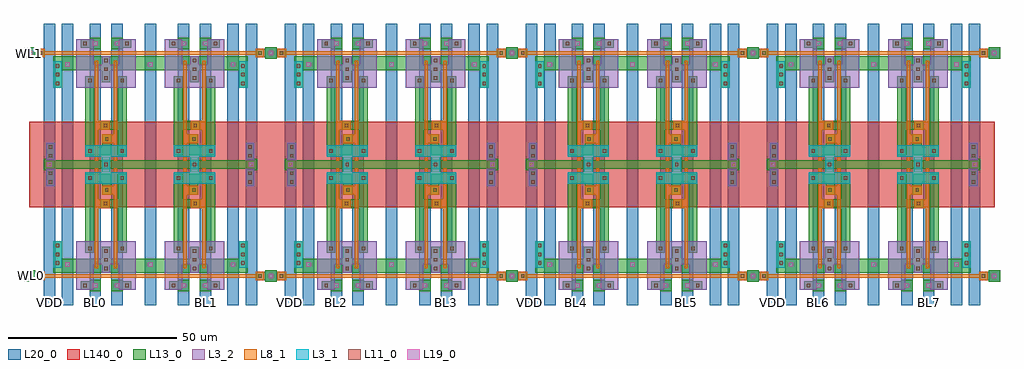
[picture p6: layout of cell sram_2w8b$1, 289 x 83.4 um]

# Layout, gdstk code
import gdstk
lib = gdstk.Library(unit=1e-6, precision=1e-07)
def R(c, l, rs):  # rectangles x0, y0, x1, y1
    for r in rs: c.add(gdstk.rectangle(r[:2], r[2:], *l))
def A(c, l, x, y, w, h, nx, ny, dx, dy):  # array of equal rectangles
    R(c, l, [(x+i*dx, y+j*dy, x+i*dx+w, y+j*dy+h) for i in range(nx) for j in range(ny)])
L3_1 = (3, 1)
L3_2 = (3, 2)
L8_1 = (8, 1)
L11_0 = (11, 0)
L13_0 = (13, 0)
L19_0 = (19, 0)
L20_0 = (20, 0)
L140_0 = (140, 0)

sram_2w2b_3 = lib.new_cell('sram_2w2b$3')
A(sram_2w2b_3, L3_1, -415.5, 10171.5, 2.6, 2.6, 1, 3, 0, 2.6)
A(sram_2w2b_3, L3_1, -360.5, 10171.5, 2.6, 2.6, 1, 3, 0, 2.6)
A(sram_2w2b_3, L3_1, -415.5, 10224.7, 2.6, 2.6, 1, 3, 0, 2.6)
A(sram_2w2b_3, L3_1, -360.5, 10224.7, 2.6, 2.6, 1, 3, 0, 2.6)
R(sram_2w2b_3, L3_1, [(-405.9,10196.3,-393.7,10199.7), (-379.7,10196.3,-367.5,10199.7), (-405.9,10196.7,-403.3,10199.3), (-396.3,10196.7,-393.7,10199.3), (-379.7,10196.7,-377.1,10199.3), (-370.1,10196.7,-367.5,10199.3), (-401.1,10199.7,-398.5,10200.7), (-374.9,10199.7,-372.3,10200.7), (-401.1,10200.7,-398.5,10203.3), (-401.1,10200.7,-398.5,10203.3), (-374.9,10200.7,-372.3,10203.3), (-374.9,10200.7,-372.3,10203.3), (-401.1,10203.3,-398.5,10204.3), (-374.9,10203.3,-372.3,10204.3), (-405.9,10204.3,-393.7,10207.7), (-379.7,10204.3,-367.5,10207.7), (-405.9,10204.7,-403.3,10207.3), (-396.3,10204.7,-393.7,10207.3), (-379.7,10204.7,-377.1,10207.3), (-370.1,10204.7,-367.5,10207.3)])
A(sram_2w2b_3, L3_2, -401.1, 10169.9, 2.6, 2.6, 1, 3, 0, 2.6)
A(sram_2w2b_3, L3_2, -374.9, 10169.9, 2.6, 2.6, 1, 3, 0, 2.6)
A(sram_2w2b_3, L3_2, -401.1, 10226.3, 2.6, 2.6, 1, 3, 0, 2.6)
A(sram_2w2b_3, L3_2, -374.9, 10226.3, 2.6, 2.6, 1, 3, 0, 2.6)
R(sram_2w2b_3, L3_2, [(-408.6,10164.9,-403.5,10172.5), (-407.3,10164.9,-404.7,10167.5), (-396.1,10164.9,-391,10172.5), (-394.9,10164.9,-392.3,10167.5), (-382.4,10164.9,-377.3,10172.5), (-381.1,10164.9,-378.5,10167.5), (-369.9,10164.9,-364.8,10172.5), (-368.7,10164.9,-366.1,10167.5), (-408.6,10172.5,-391,10179.3), (-382.4,10172.5,-364.8,10179.3), (-405.9,10175.8,-403.3,10178.4), (-396.3,10175.8,-393.7,10178.4), (-379.7,10175.8,-377.1,10178.4), (-370.1,10175.8,-367.5,10178.4), (-417.5,10195.5,-414.9,10198.1), (-358.5,10195.5,-355.9,10198.1), (-417.5,10198.1,-414.9,10200.7), (-358.5,10198.1,-355.9,10200.7), (-417.5,10203.3,-414.9,10205.9), (-358.5,10203.3,-355.9,10205.9), (-417.5,10205.9,-414.9,10208.5), (-358.5,10205.9,-355.9,10208.5), (-408.6,10224.7,-391,10231.5), (-382.4,10224.7,-364.8,10231.5), (-405.9,10225.6,-403.3,10228.2), (-396.3,10225.6,-393.7,10228.2), (-379.7,10225.6,-377.1,10228.2), (-370.1,10225.6,-367.5,10228.2), (-408.6,10231.5,-403.5,10239.1), (-396.1,10231.5,-391,10239.1), (-382.4,10231.5,-377.3,10239.1), (-369.9,10231.5,-364.8,10239.1), (-407.3,10236.5,-404.7,10239.1), (-394.9,10236.5,-392.3,10239.1), (-381.1,10236.5,-378.5,10239.1), (-368.7,10236.5,-366.1,10239.1)])
R(sram_2w2b_3, L8_1, [(-420.5,10167.7,-417.9,10170.3), (-420.5,10167.7,-417.9,10170.3), (-355.5,10167.7,-352.9,10170.3), (-419.7,10168.5,-412.9,10169.5), (-419.7,10168.5,-412.9,10169.5), (-412.9,10168.5,-386.7,10169.5), (-386.7,10168.5,-360.5,10169.5), (-360.5,10168.5,-353.7,10169.5), (-403.1,10171.3,-402.1,10200.9), (-397.5,10171.3,-396.5,10200.9), (-376.9,10171.3,-375.9,10200.9), (-371.3,10171.3,-370.3,10200.9), (-402.1,10189.1,-401.3,10191.7), (-401.3,10189.1,-398.7,10191.7), (-374.7,10189.1,-372.1,10191.7), (-372.1,10189.1,-371.3,10191.7), (-400.9,10193.1,-398.3,10195.7), (-398.3,10193.1,-397.5,10195.7), (-375.9,10193.1,-375.1,10195.7), (-375.1,10193.1,-372.5,10195.7), (-403.1,10203.1,-402.1,10232.7), (-397.5,10203.1,-396.5,10232.7), (-376.9,10203.1,-375.9,10232.7), (-371.3,10203.1,-370.3,10232.7), (-400.9,10208.3,-398.3,10210.9), (-398.3,10208.3,-397.5,10210.9), (-375.9,10208.3,-375.1,10210.9), (-375.1,10208.3,-372.5,10210.9), (-402.1,10212.3,-401.3,10214.9), (-401.3,10212.3,-398.7,10214.9), (-374.7,10212.3,-372.1,10214.9), (-372.1,10212.3,-371.3,10214.9), (-420.5,10233.7,-417.9,10236.3), (-355.5,10233.7,-352.9,10236.3), (-419.7,10234.5,-412.9,10235.5), (-412.9,10234.5,-386.7,10235.5), (-386.7,10234.5,-360.5,10235.5), (-360.5,10234.5,-353.7,10235.5)])
A(sram_2w2b_3, L11_0, -400.3, 10170.7, 1, 1, 1, 3, 0, 2.6)
A(sram_2w2b_3, L11_0, -374.1, 10170.7, 1, 1, 1, 3, 0, 2.6)
A(sram_2w2b_3, L11_0, -414.7, 10172.3, 1, 1, 1, 3, 0, 2.6)
A(sram_2w2b_3, L11_0, -359.7, 10172.3, 1, 1, 1, 3, 0, 2.6)
A(sram_2w2b_3, L11_0, -414.7, 10225.5, 1, 1, 1, 3, 0, 2.6)
A(sram_2w2b_3, L11_0, -359.7, 10225.5, 1, 1, 1, 3, 0, 2.6)
A(sram_2w2b_3, L11_0, -400.3, 10227.1, 1, 1, 1, 3, 0, 2.6)
A(sram_2w2b_3, L11_0, -374.1, 10227.1, 1, 1, 1, 3, 0, 2.6)
R(sram_2w2b_3, L11_0, [(-406.5,10165.7,-405.5,10166.7), (-394.1,10165.7,-393.1,10166.7), (-380.3,10165.7,-379.3,10166.7), (-367.9,10165.7,-366.9,10166.7), (-419.7,10168.5,-418.7,10169.5), (-419.7,10168.5,-418.7,10169.5), (-354.7,10168.5,-353.7,10169.5), (-405.1,10176.6,-404.1,10177.6), (-395.5,10176.6,-394.5,10177.6), (-378.9,10176.6,-377.9,10177.6), (-369.3,10176.6,-368.3,10177.6), (-400.5,10189.9,-399.5,10190.9), (-373.9,10189.9,-372.9,10190.9), (-400.1,10193.9,-399.1,10194.9), (-374.3,10193.9,-373.3,10194.9), (-416.7,10196.3,-415.7,10197.3), (-357.7,10196.3,-356.7,10197.3), (-405.1,10197.5,-404.1,10198.5), (-395.5,10197.5,-394.5,10198.5), (-378.9,10197.5,-377.9,10198.5), (-369.3,10197.5,-368.3,10198.5), (-416.7,10198.9,-415.7,10199.9), (-357.7,10198.9,-356.7,10199.9), (-400.3,10201.5,-399.3,10202.5), (-400.3,10201.5,-399.3,10202.5), (-374.1,10201.5,-373.1,10202.5), (-374.1,10201.5,-373.1,10202.5), (-416.7,10204.1,-415.7,10205.1), (-357.7,10204.1,-356.7,10205.1), (-405.1,10205.5,-404.1,10206.5), (-395.5,10205.5,-394.5,10206.5), (-378.9,10205.5,-377.9,10206.5), (-369.3,10205.5,-368.3,10206.5), (-416.7,10206.7,-415.7,10207.7), (-357.7,10206.7,-356.7,10207.7), (-400.1,10209.1,-399.1,10210.1), (-374.3,10209.1,-373.3,10210.1), (-400.5,10213.1,-399.5,10214.1), (-373.9,10213.1,-372.9,10214.1), (-405.1,10226.4,-404.1,10227.4), (-395.5,10226.4,-394.5,10227.4), (-378.9,10226.4,-377.9,10227.4), (-369.3,10226.4,-368.3,10227.4), (-419.7,10234.5,-418.7,10235.5), (-354.7,10234.5,-353.7,10235.5), (-406.5,10237.3,-405.5,10238.3), (-394.1,10237.3,-393.1,10238.3), (-380.3,10237.3,-379.3,10238.3), (-367.9,10237.3,-366.9,10238.3)])
A(sram_2w2b_3, L13_0, -401.1, 10169.9, 2.6, 2.6, 1, 3, 0, 2.6)
A(sram_2w2b_3, L13_0, -374.9, 10169.9, 2.6, 2.6, 1, 3, 0, 2.6)
A(sram_2w2b_3, L13_0, -415.5, 10171.5, 2.6, 2.6, 1, 3, 0, 2.6)
A(sram_2w2b_3, L13_0, -360.5, 10171.5, 2.6, 2.6, 1, 3, 0, 2.6)
A(sram_2w2b_3, L13_0, -415.5, 10224.7, 2.6, 2.6, 1, 3, 0, 2.6)
A(sram_2w2b_3, L13_0, -360.5, 10224.7, 2.6, 2.6, 1, 3, 0, 2.6)
A(sram_2w2b_3, L13_0, -401.1, 10226.3, 2.6, 2.6, 1, 3, 0, 2.6)
A(sram_2w2b_3, L13_0, -374.9, 10226.3, 2.6, 2.6, 1, 3, 0, 2.6)
R(sram_2w2b_3, L13_0, [(-404.7,10164.5,-401.3,10167.9), (-398.3,10164.5,-394.9,10167.9), (-378.5,10164.5,-375.1,10167.9), (-372.1,10164.5,-368.7,10167.9), (-407.3,10164.9,-404.7,10167.5), (-394.9,10164.9,-392.3,10167.5), (-381.1,10164.9,-378.5,10167.5), (-368.7,10164.9,-366.1,10167.5), (-424.1,10167.3,-420.7,10170.7), (-352.7,10167.3,-349.3,10170.7), (-352.7,10167.3,-349.3,10170.7), (-420.7,10167.7,-420.5,10170.3), (-420.7,10167.7,-420.5,10170.3), (-420.5,10167.7,-417.9,10170.3), (-420.5,10167.7,-417.9,10170.3), (-355.5,10167.7,-352.9,10170.3), (-352.9,10167.7,-352.7,10170.3), (-352.9,10167.7,-352.7,10170.3), (-352.9,10167.7,-352.7,10170.3), (-352.9,10167.7,-352.7,10170.3), (-415.5,10169.9,-412.9,10171.5), (-412.9,10169.9,-386.7,10174.1), (-386.7,10169.9,-360.5,10174.1), (-360.5,10169.9,-357.9,10171.5), (-412.9,10170.7,-409.5,10174.1), (-388.4,10170.7,-385,10174.1), (-388.4,10170.7,-385,10174.1), (-363.9,10170.7,-360.5,10174.1), (-401.1,10172.5,-398.5,10177.7), (-374.9,10172.5,-372.3,10177.7), (-405.9,10175.8,-403.3,10178.4), (-405.9,10175.8,-403.3,10196.7), (-396.3,10175.8,-393.7,10178.4), (-396.3,10175.8,-393.7,10196.7), (-379.7,10175.8,-377.1,10178.4), (-379.7,10175.8,-377.1,10196.7), (-370.1,10175.8,-367.5,10178.4), (-370.1,10175.8,-367.5,10196.7), (-401.3,10189.1,-398.7,10191.7), (-398.7,10189.1,-396.3,10191.7), (-377.1,10189.1,-374.7,10191.7), (-374.7,10189.1,-372.1,10191.7), (-400.9,10193.1,-398.3,10195.7), (-375.1,10193.1,-372.5,10195.7), (-417.5,10195.5,-414.9,10198.1), (-358.5,10195.5,-355.9,10198.1), (-400.9,10195.6,-398.3,10196.7), (-375.1,10195.6,-372.5,10196.7), (-405.9,10196.7,-403.3,10199.3), (-403.3,10196.7,-398.3,10199.3), (-396.3,10196.7,-393.7,10199.3), (-379.7,10196.7,-377.1,10199.3), (-375.1,10196.7,-370.1,10199.3), (-370.1,10196.7,-367.5,10199.3), (-417.5,10198.1,-414.9,10200.7), (-358.5,10198.1,-355.9,10200.7), (-418.3,10200.3,-414.9,10203.7), (-358.5,10200.3,-355.1,10203.7), (-417.5,10200.7,-412.9,10203.3), (-412.9,10200.7,-386.7,10203.3), (-412.9,10200.7,-386.7,10203.3), (-401.1,10200.7,-398.5,10203.3), (-401.1,10200.7,-398.5,10203.3), (-386.7,10200.7,-360.5,10203.3), (-386.7,10200.7,-360.5,10203.3), (-374.9,10200.7,-372.3,10203.3), (-374.9,10200.7,-372.3,10203.3), (-360.5,10200.7,-355.9,10203.3), (-417.5,10203.3,-414.9,10205.9), (-358.5,10203.3,-355.9,10205.9), (-405.9,10204.7,-403.3,10207.3), (-403.3,10204.7,-398.3,10207.3), (-396.3,10204.7,-393.7,10207.3), (-379.7,10204.7,-377.1,10207.3), (-375.1,10204.7,-370.1,10207.3), (-370.1,10204.7,-367.5,10207.3), (-417.5,10205.9,-414.9,10208.5), (-358.5,10205.9,-355.9,10208.5), (-405.9,10207.3,-403.3,10228.2), (-400.9,10207.3,-398.3,10208.4), (-396.3,10207.3,-393.7,10228.2), (-379.7,10207.3,-377.1,10228.2), (-375.1,10207.3,-372.5,10208.4), (-370.1,10207.3,-367.5,10228.2), (-400.9,10208.3,-398.3,10210.9), (-375.1,10208.3,-372.5,10210.9), (-401.3,10212.3,-398.7,10214.9), (-398.7,10212.3,-396.3,10214.9), (-377.1,10212.3,-374.7,10214.9), (-374.7,10212.3,-372.1,10214.9), (-405.9,10225.6,-403.3,10228.2), (-396.3,10225.6,-393.7,10228.2), (-379.7,10225.6,-377.1,10228.2), (-370.1,10225.6,-367.5,10228.2), (-401.1,10226.3,-398.5,10231.5), (-374.9,10226.3,-372.3,10231.5), (-412.9,10229.9,-409.5,10233.3), (-412.9,10229.9,-386.7,10234.1), (-388.4,10229.9,-385,10233.3), (-388.4,10229.9,-385,10233.3), (-386.7,10229.9,-360.5,10234.1), (-363.9,10229.9,-360.5,10233.3), (-415.5,10232.5,-412.9,10234.1), (-360.5,10232.5,-357.9,10234.1), (-424.1,10233.3,-420.7,10236.7), (-352.7,10233.3,-349.3,10236.7), (-352.7,10233.3,-349.3,10236.7), (-420.7,10233.7,-420.5,10236.3), (-420.5,10233.7,-417.9,10236.3), (-355.5,10233.7,-352.9,10236.3), (-352.9,10233.7,-352.7,10236.3), (-352.9,10233.7,-352.7,10236.3), (-352.9,10233.7,-352.7,10236.3), (-352.9,10233.7,-352.7,10236.3), (-404.7,10236.1,-401.3,10239.5), (-398.3,10236.1,-394.9,10239.5), (-378.5,10236.1,-375.1,10239.5), (-372.1,10236.1,-368.7,10239.5), (-407.3,10236.5,-404.7,10239.1), (-394.9,10236.5,-392.3,10239.1), (-381.1,10236.5,-378.5,10239.1), (-368.7,10236.5,-366.1,10239.1)])
R(sram_2w2b_3, L19_0, [(-403.7,10165.5,-402.3,10166.9), (-397.3,10165.5,-395.9,10166.9), (-377.5,10165.5,-376.1,10166.9), (-371.1,10165.5,-369.7,10166.9), (-423.1,10168.3,-421.7,10169.7), (-351.7,10168.3,-350.3,10169.7), (-351.7,10168.3,-350.3,10169.7), (-411.9,10171.7,-410.5,10173.1), (-387.4,10171.7,-386,10173.1), (-387.4,10171.7,-386,10173.1), (-362.9,10171.7,-361.5,10173.1), (-417.3,10201.3,-415.9,10202.7), (-357.5,10201.3,-356.1,10202.7), (-411.9,10230.9,-410.5,10232.3), (-387.4,10230.9,-386,10232.3), (-387.4,10230.9,-386,10232.3), (-362.9,10230.9,-361.5,10232.3), (-423.1,10234.3,-421.7,10235.7), (-351.7,10234.3,-350.3,10235.7), (-351.7,10234.3,-350.3,10235.7), (-403.7,10237.1,-402.3,10238.5), (-397.3,10237.1,-395.9,10238.5), (-377.5,10237.1,-376.1,10238.5), (-371.1,10237.1,-369.7,10238.5)])
A(sram_2w2b_3, L20_0, -398.3, 10160.3, 3.4, 4.2, 3, 2, 9.9, 79.2)
R(sram_2w2b_3, L20_0, [(-418.3,10160.3,-414.9,10164.5), (-412.9,10160.3,-409.5,10164.5), (-404.7,10160.3,-401.3,10164.5), (-404.7,10160.3,-401.3,10164.5), (-398.3,10160.3,-394.9,10164.5), (-378.5,10160.3,-375.1,10164.5), (-372.1,10160.3,-368.7,10164.5), (-372.1,10160.3,-368.7,10164.5), (-363.9,10160.3,-360.5,10164.5), (-358.5,10160.3,-355.1,10164.5), (-418.3,10164.5,-414.9,10200.3), (-412.9,10164.5,-409.5,10202), (-404.7,10164.5,-401.3,10167.9), (-398.3,10164.5,-394.9,10167.9), (-388.4,10164.5,-385,10202), (-388.4,10164.5,-385,10202), (-378.5,10164.5,-375.1,10167.9), (-372.1,10164.5,-368.7,10167.9), (-363.9,10164.5,-360.5,10202), (-358.5,10164.5,-355.1,10200.3), (-424.1,10167.3,-420.7,10170.7), (-352.7,10167.3,-349.3,10170.7), (-352.7,10167.3,-349.3,10170.7), (-404.7,10167.9,-401.3,10202), (-398.3,10167.9,-394.9,10202), (-378.5,10167.9,-375.1,10202), (-372.1,10167.9,-368.7,10202), (-412.9,10170.7,-409.5,10174.1), (-388.4,10170.7,-385,10174.1), (-388.4,10170.7,-385,10174.1), (-363.9,10170.7,-360.5,10174.1), (-418.3,10200.3,-414.9,10203.7), (-358.5,10200.3,-355.1,10203.7), (-412.9,10202,-409.5,10239.5), (-404.7,10202,-401.3,10236.1), (-398.3,10202,-394.9,10236.1), (-388.4,10202,-385,10239.5), (-388.4,10202,-385,10239.5), (-378.5,10202,-375.1,10236.1), (-372.1,10202,-368.7,10236.1), (-363.9,10202,-360.5,10239.5), (-418.3,10203.7,-414.9,10239.5), (-358.5,10203.7,-355.1,10239.5), (-412.9,10229.9,-409.5,10233.3), (-388.4,10229.9,-385,10233.3), (-388.4,10229.9,-385,10233.3), (-363.9,10229.9,-360.5,10233.3), (-424.1,10233.3,-420.7,10236.7), (-352.7,10233.3,-349.3,10236.7), (-352.7,10233.3,-349.3,10236.7), (-404.7,10236.1,-401.3,10239.5), (-398.3,10236.1,-394.9,10239.5), (-378.5,10236.1,-375.1,10239.5), (-372.1,10236.1,-368.7,10239.5), (-418.3,10239.5,-414.9,10243.7), (-412.9,10239.5,-409.5,10243.7), (-404.7,10239.5,-401.3,10243.7), (-404.7,10239.5,-401.3,10243.7), (-398.3,10239.5,-394.9,10243.7), (-378.5,10239.5,-375.1,10243.7), (-372.1,10239.5,-368.7,10243.7), (-372.1,10239.5,-368.7,10243.7), (-363.9,10239.5,-360.5,10243.7), (-358.5,10239.5,-355.1,10243.7)])
R(sram_2w2b_3, L140_0, [(-422.5,10189.3,-412.9,10214.7), (-412.9,10189.3,-386.7,10210.3), (-386.7,10189.3,-360.5,10210.3), (-360.5,10189.3,-350.9,10214.7), (-412.9,10193.7,-386.7,10214.7), (-386.7,10193.7,-360.5,10214.7)])
sram_2w2b_3.add(gdstk.Label('WL', (-400.9,10168.9), layer=48, texttype=0))
sram_2w2b_3.add(gdstk.Label('VSS', (-411.7,10171), layer=48, texttype=0))
sram_2w2b_3.add(gdstk.Label('VDD', (-411.2,10201.8), layer=48, texttype=0))
sram_2w2b_3.add(gdstk.Label('WL', (-372.5,10168.9), layer=48, texttype=0))
sram_2w2b_3.add(gdstk.Label('VSS', (-361.7,10171), layer=48, texttype=0))
sram_2w2b_3.add(gdstk.Label('VDD', (-362.2,10201.8), layer=48, texttype=0))
sram_2w2b_3.add(gdstk.Label('WL', (-372.5,10235.1), layer=48, texttype=0))
sram_2w2b_3.add(gdstk.Label('VSS', (-361.7,10233), layer=48, texttype=0))
sram_2w2b_3.add(gdstk.Label('VDD', (-362.2,10202.2), layer=48, texttype=0))
sram_2w2b_3.add(gdstk.Label('WL', (-400.9,10235.1), layer=48, texttype=0))
sram_2w2b_3.add(gdstk.Label('VSS', (-411.7,10233), layer=48, texttype=0))
sram_2w2b_3.add(gdstk.Label('VDD', (-411.2,10202.2), layer=48, texttype=0))
sram_2w2b_3.add(gdstk.Label('WL1', (-351.1,10235), layer=49, texttype=0))
sram_2w2b_3.add(gdstk.Label('WL0', (-351.4,10169), layer=49, texttype=0))
sram_2w2b_3.add(gdstk.Label('WL0', (-422.4,10169), layer=49, texttype=0))
sram_2w2b_3.add(gdstk.Label('VDD', (-416.5,10161), layer=49, texttype=0))
sram_2w2b_3.add(gdstk.Label('VSS', (-410.9,10161), layer=49, texttype=0))
sram_2w2b_3.add(gdstk.Label('BL0', (-403,10161), layer=49, texttype=0))
sram_2w2b_3.add(gdstk.Label('BLB0', (-396.5,10161), layer=49, texttype=0))
sram_2w2b_3.add(gdstk.Label('VSS', (-386.7,10161), layer=49, texttype=0))
sram_2w2b_3.add(gdstk.Label('BLB1', (-376.5,10161), layer=49, texttype=0))
sram_2w2b_3.add(gdstk.Label('BL1', (-370.2,10161), layer=49, texttype=0))
sram_2w2b_3.add(gdstk.Label('VSS', (-362.1,10161), layer=49, texttype=0))
sram_2w2b_3.add(gdstk.Label('VDD', (-356.7,10161), layer=49, texttype=0))
sram_2w2b_3.add(gdstk.Label('WL1', (-422.3,10235), layer=49, texttype=0))

sram_2w8b_1 = lib.new_cell('sram_2w8b$1')
sram_2w8b_1.add(gdstk.Reference(sram_2w2b_3, (0,-4)))
sram_2w8b_1.add(gdstk.Reference(sram_2w2b_3, (71.4,-4)))
sram_2w8b_1.add(gdstk.Reference(sram_2w2b_3, (142.8,-4)))
sram_2w8b_1.add(gdstk.Reference(sram_2w2b_3, (214.2,-4)))
sram_2w8b_1.add(gdstk.Label('VDD', (-416.6,10157), layer=49, texttype=0))
sram_2w8b_1.add(gdstk.Label('VSS', (-410.8,10157), layer=49, texttype=0))
sram_2w8b_1.add(gdstk.Label('BL0', (-402.8,10157), layer=49, texttype=0))
sram_2w8b_1.add(gdstk.Label('BLB0', (-396.6,10156.9), layer=49, texttype=0))
sram_2w8b_1.add(gdstk.Label('BL1', (-370.1,10157), layer=49, texttype=0))
sram_2w8b_1.add(gdstk.Label('BLB1', (-376.9,10157.1), layer=49, texttype=0))
sram_2w8b_1.add(gdstk.Label('VDD', (-345.4,10157), layer=49, texttype=0))
sram_2w8b_1.add(gdstk.Label('VSS', (-339.6,10157), layer=49, texttype=0))
sram_2w8b_1.add(gdstk.Label('BL2', (-331.6,10157), layer=49, texttype=0))
sram_2w8b_1.add(gdstk.Label('BLB2', (-325.4,10156.9), layer=49, texttype=0))
sram_2w8b_1.add(gdstk.Label('BL3', (-298.9,10157), layer=49, texttype=0))
sram_2w8b_1.add(gdstk.Label('BLB3', (-305.7,10157.1), layer=49, texttype=0))
sram_2w8b_1.add(gdstk.Label('VDD', (-274.3,10157.1), layer=49, texttype=0))
sram_2w8b_1.add(gdstk.Label('VSS', (-268.5,10157.1), layer=49, texttype=0))
sram_2w8b_1.add(gdstk.Label('BL4', (-260.5,10157.1), layer=49, texttype=0))
sram_2w8b_1.add(gdstk.Label('BLB4', (-253.7,10157), layer=49, texttype=0))
sram_2w8b_1.add(gdstk.Label('BL5', (-227.8,10157.1), layer=49, texttype=0))
sram_2w8b_1.add(gdstk.Label('BLB5', (-234.6,10157.2), layer=49, texttype=0))
sram_2w8b_1.add(gdstk.Label('VDD', (-202.6,10157.1), layer=49, texttype=0))
sram_2w8b_1.add(gdstk.Label('VSS', (-196.8,10157.1), layer=49, texttype=0))
sram_2w8b_1.add(gdstk.Label('BL6', (-188.8,10157.1), layer=49, texttype=0))
sram_2w8b_1.add(gdstk.Label('BLB6', (-182,10157), layer=49, texttype=0))
sram_2w8b_1.add(gdstk.Label('BL7', (-156.1,10157.1), layer=49, texttype=0))
sram_2w8b_1.add(gdstk.Label('BLB7', (-162.9,10157.2), layer=49, texttype=0))
sram_2w8b_1.add(gdstk.Label('WL0', (-422,10165.2), layer=49, texttype=0))
sram_2w8b_1.add(gdstk.Label('WL1', (-422.4,10231), layer=49, texttype=0))

lib.write_gds('sram_2w8b_1.gds')
